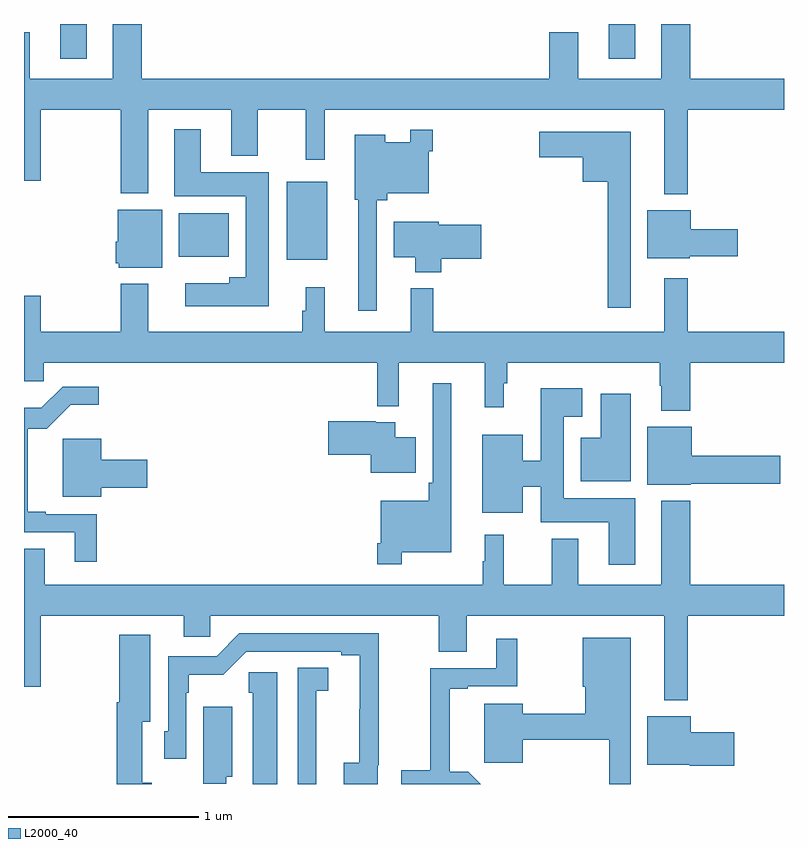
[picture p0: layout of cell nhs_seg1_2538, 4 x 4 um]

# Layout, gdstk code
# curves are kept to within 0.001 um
import gdstk
lib = gdstk.Library(unit=1e-6, precision=1e-09)
def R(c, l, rs):  # rectangles x0, y0, x1, y1
    for r in rs: c.add(gdstk.rectangle(r[:2], r[2:], *l))
def P(c, l, *ps):  # polygons
    for p in ps: c.add(gdstk.Polygon(p, *l))
L2000_40 = (2000, 40)

nhs_seg1_2538 = lib.new_cell('nhs_seg1_2538')
R(nhs_seg1_2538, L2000_40, [(250.382,534.959,250.597,535.369), (249.815,534.974,250.078,535.204), (249.191,536.016,249.331,536.199), (252.077,536.016,252.217,536.199)])
P(nhs_seg1_2538, L2000_40, [(249.508,535.307),(249.655,535.307),(249.655,535.748),(250.091,535.748),(250.091,535.505),(250.231,535.505),(250.231,535.748),(250.483,535.748),(250.483,535.485),(250.582,535.485),(250.582,535.748),(252.371,535.748),(252.371,535.304),(252.493,535.304),(252.493,535.748),(253,535.748),(253,535.912),(252.506,535.912),(252.506,536.199),(252.353,536.199),(252.353,535.912),(251.917,535.912),(251.917,536.155),(251.765,536.155),(251.765,535.912),(249.62,535.912),(249.62,536.199),(249.467,536.199),(249.467,535.912),(249.031,535.912),(249.031,536.155),(249,536.155),(249,535.374),(249.088,535.374),(249.088,535.748),(249.508,535.748)],
  [(250.288,535.42),(249.931,535.42),(249.931,535.645),(249.791,535.645),(249.791,535.292),(250.166,535.292),(250.166,534.865),(250.079,534.865),(250.079,534.835),(249.849,534.835),(249.849,534.713),(250.288,534.713)],
  [(250.857,535.271),(250.913,535.271),(250.913,535.307),(251.13,535.307),(251.13,535.529),(251.15,535.529),(251.15,535.642),(251.033,535.642),(251.033,535.576),(250.9,535.576),(250.9,535.615),(250.742,535.615),(250.742,535.275),(250.76,535.275),(250.76,534.69),(250.857,534.69)],
  [(252.193,535.633),(251.712,535.633),(251.712,535.499),(251.942,535.499),(251.942,535.37),(252.072,535.37),(252.072,534.705),(252.193,534.705)],
  [(249.727,535.222),(249.494,535.222),(249.494,535.053),(249.482,535.053),(249.482,534.939),(249.498,534.939),(249.498,534.917),(249.727,534.917)],
  [(252.504,534.976),(252.757,534.976),(252.757,535.118),(252.508,535.118),(252.508,535.219),(252.281,535.219),(252.281,534.965),(252.504,534.965)],
  [(251.195,534.964),(251.407,534.964),(251.407,535.142),(251.182,535.142),(251.182,535.159),(250.946,535.159),(250.946,534.971),(251.06,534.971),(251.06,534.893),(251.195,534.893)],
  [(252.506,534.416),(253,534.416),(253,534.58),(252.493,534.58),(252.493,534.862),(252.371,534.862),(252.371,534.58),(251.153,534.58),(251.153,534.808),(251.036,534.808),(251.036,534.58),(250.583,534.58),(250.583,534.814),(250.484,534.814),(250.484,534.689),(250.465,534.689),(250.465,534.58),(249.655,534.58),(249.655,534.832),(249.508,534.832),(249.508,534.58),(249.088,534.58),(249.088,534.769),(249,534.769),(249,534.318),(249.103,534.318),(249.103,534.416),(250.86,534.416),(250.86,534.188),(250.973,534.188),(250.973,534.416),(251.426,534.416),(251.426,534.183),(251.525,534.183),(251.525,534.308),(251.543,534.308),(251.543,534.416),(252.346,534.416),(252.346,534.296),(252.353,534.296),(252.353,534.164),(252.506,534.164)],
  [(250.987,533.42),(251.248,533.42),(251.248,534.307),(251.151,534.307),(251.151,533.785),(251.131,533.785),(251.131,533.689),(250.878,533.689),(250.878,533.467),(250.858,533.467),(250.858,533.355),(250.987,533.355)],
  [(249.383,533.619),(249.115,533.619),(249.115,533.632),(249.02,533.632),(249.02,534.069),(249.119,534.069),(249.245,534.194),(249.394,534.194),(249.394,534.291),(249.204,534.291),(249.091,534.178),(249,534.178),(249,533.523),(249.266,533.523),(249.266,533.37),(249.383,533.37)],
  [(252.217,533.704),(251.842,533.704),(251.842,534.131),(251.938,534.131),(251.938,534.283),(251.72,534.283),(251.72,533.9),(251.626,533.9),(251.626,534.037),(251.411,534.037),(251.411,533.627),(251.626,533.627),(251.626,533.764),(251.72,533.764),(251.72,533.576),(252.077,533.576),(252.077,533.352),(252.217,533.352)],
  [(252.193,534.253),(252.035,534.253),(252.035,534.022),(251.93,534.022),(251.93,533.792),(252.193,533.792)],
  [(251.062,534.025),(250.954,534.025),(250.954,534.103),(250.85,534.103),(250.85,534.108),(250.602,534.108),(250.602,533.933),(250.826,533.933),(250.826,533.837),(251.062,533.837)],
  [(252.51,533.78),(252.979,533.78),(252.979,533.927),(252.514,533.927),(252.514,534.079),(252.281,534.079),(252.281,533.774),(252.51,533.774)],
  [(249.406,533.759),(249.649,533.759),(249.649,533.906),(249.406,533.906),(249.406,534.016),(249.203,534.016),(249.203,533.711),(249.406,533.711)],
  [(252.493,533.084),(253,533.084),(253,533.248),(252.506,533.248),(252.506,533.689),(252.353,533.689),(252.353,533.248),(251.917,533.248),(251.917,533.491),(251.777,533.491),(251.777,533.248),(251.526,533.248),(251.526,533.512),(251.426,533.512),(251.426,533.372),(251.415,533.372),(251.415,533.248),(249.109,533.248),(249.109,533.438),(249,533.438),(249,532.71),(249.088,532.71),(249.088,533.084),(249.842,533.084),(249.842,532.974),(249.981,532.974),(249.981,533.084),(251.182,533.084),(251.182,532.894),(251.329,532.894),(251.329,533.084),(252.371,533.084),(252.371,532.64),(252.493,532.64)],
  [(250.862,532.297),(250.868,532.297),(250.868,532.992),(250.134,532.992),(250.014,532.872),(249.759,532.872),(249.759,532.476),(249.738,532.476),(249.738,532.332),(249.855,532.332),(249.855,532.679),(249.868,532.679),(249.868,532.775),(250.049,532.775),(250.17,532.896),(250.67,532.896),(250.67,532.876),(250.766,532.876),(250.765,532.31),(250.683,532.31),(250.683,532.199),(250.862,532.199)],
  [(249.673,532.206),(249.622,532.206),(249.622,532.526),(249.664,532.526),(249.664,532.984),(249.5,532.984),(249.5,532.63),(249.488,532.63),(249.488,532.199),(249.673,532.199)],
  [(252.193,532.969),(251.942,532.969),(251.942,532.71),(251.954,532.71),(251.954,532.568),(251.626,532.568),(251.626,532.621),(251.423,532.621),(251.423,532.311),(251.626,532.311),(251.626,532.432),(252.079,532.432),(252.079,532.199),(252.193,532.199)],
  [(251.339,532.264),(251.24,532.264),(251.24,532.701),(251.335,532.701),(251.335,532.713),(251.596,532.713),(251.596,532.963),(251.486,532.963),(251.486,532.809),(251.137,532.809),(251.137,532.271),(250.986,532.271),(250.986,532.199),(251.404,532.199)],
  [(250.537,532.387),(250.539,532.387),(250.539,532.691),(250.6,532.691),(250.6,532.811),(250.44,532.811),(250.44,532.199),(250.537,532.199)],
  [(250.333,532.786),(250.183,532.786),(250.183,532.68),(250.205,532.68),(250.205,532.199),(250.333,532.199)],
  [(250.064,532.238),(250.096,532.238),(250.096,532.606),(249.944,532.606),(249.944,532.201),(250.064,532.201)],
  [(252.739,532.472),(252.508,532.472),(252.508,532.555),(252.281,532.555),(252.281,532.301),(252.504,532.301),(252.504,532.294),(252.739,532.294)])

lib.write_gds('nhs_seg1_2538.gds')
